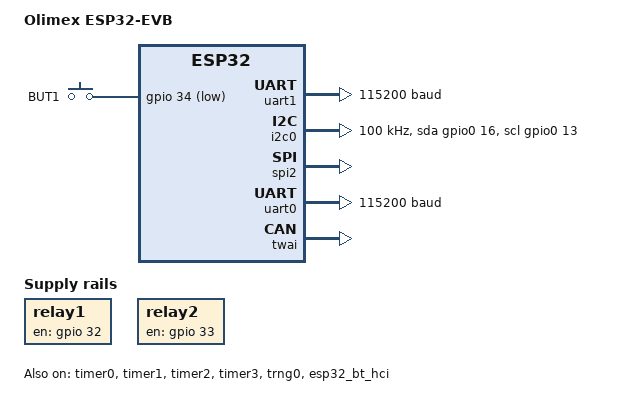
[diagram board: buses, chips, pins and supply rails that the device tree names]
/*
 * Copyright (c) 2022 Henrik Brix Andersen <henrik@brixandersen.dk>
 *
 * SPDX-License-Identifier: Apache-2.0
 */

/dts-v1/;

#include <espressif/esp32/esp32_wrover_e_n4r2.dtsi>
#include "olimex_esp32_evb-pinctrl.dtsi"
#include <zephyr/dt-bindings/input/input-event-codes.h>
#include <espressif/partitions_0x1000_amp.dtsi>

/ {
	model = "Olimex ESP32-EVB";
	compatible = "olimex,esp32-evb", "espressif,esp32-wroom-32e", "espressif,esp32";

	chosen {
		zephyr,console = &uart0;
		zephyr,shell-uart = &uart0;
		zephyr,sram = &sram0;
		zephyr,flash = &flash0;
		zephyr,code-partition = &slot0_partition;
		zephyr,bt-hci = &esp32_bt_hci;
	};

	aliases {
		sw0 = &button1;
		watchdog0 = &wdt0;
	};

	gpio_keys {
		compatible = "gpio-keys";
		button1: button1 {
			gpios = <&gpio 34 GPIO_ACTIVE_LOW>;
			label = "BUT1";
			zephyr,code = <INPUT_KEY_0>;
		};
	};

	relay1: relay1 {
		compatible = "regulator-fixed";
		enable-gpios = <&gpio 32 GPIO_ACTIVE_HIGH>;
		regulator-name = "REL1";
		startup-delay-us = <10000>;
		off-on-delay-us = <5000>;
	};

	relay2: relay2 {
		compatible = "regulator-fixed";
		enable-gpios = <&gpio 33 GPIO_ACTIVE_HIGH>;
		regulator-name = "REL2";
		startup-delay-us = <10000>;
		off-on-delay-us = <5000>;
	};
};

uext_serial: &uart1 {};
uext_i2c: &i2c0 {};
uext_spi: &spi2 {};

&uart0 {
	status = "okay";
	current-speed = <115200>;
	pinctrl-0 = <&uart0_default>;
	pinctrl-names = "default";
};

&uart1 {
	status = "okay";
	current-speed = <115200>;
	pinctrl-0 = <&uart1_default>;
	pinctrl-names = "default";
};

&i2c0 {
	status = "okay";
	clock-frequency = <I2C_BITRATE_STANDARD>;
	sda-gpios = <&gpio0 16 GPIO_OPEN_DRAIN>;
	scl-gpios = <&gpio0 13 GPIO_OPEN_DRAIN>;
	pinctrl-0 = <&i2c0_default>;
	pinctrl-names = "default";
};

&spi2 {
	status = "okay";
	pinctrl-0 = <&spim2_default>;
	pinctrl-names = "default";
	#address-cells = <1>;
	#size-cells = <0>;
};

&twai {
	status = "okay";
	pinctrl-0 = <&twai_default>;
	pinctrl-names = "default";

	can-transceiver {
		max-bitrate = <1000000>;
	};
};

&gpio0 {
	status = "okay";
};

&gpio1 {
	status = "okay";
};

&timer0 {
	status = "okay";
};

&timer1 {
	status = "okay";
};

&timer2 {
	status = "okay";
};

&timer3 {
	status = "okay";
};

&trng0 {
	status = "okay";
};

&esp32_bt_hci {
	status = "okay";
};
